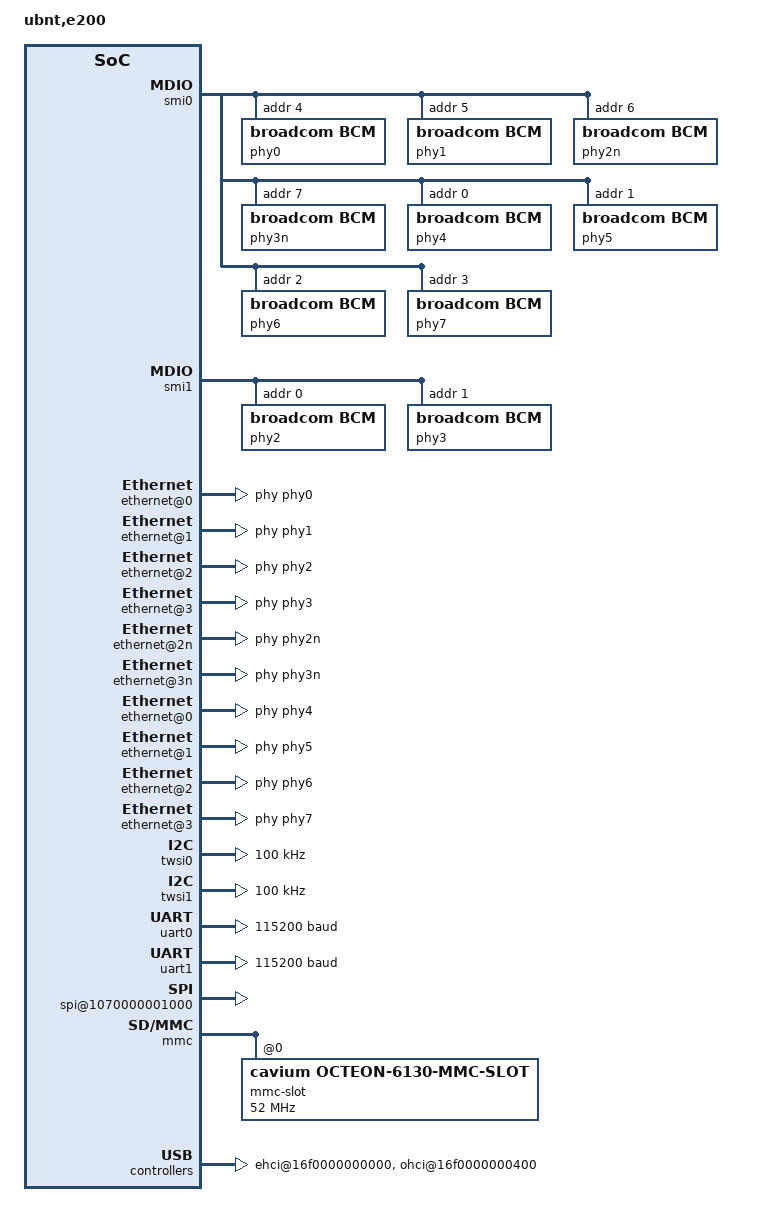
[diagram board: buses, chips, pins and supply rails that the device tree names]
/dts-v1/;
/*
 * UBNT E200
 */
/ {
	model = "ubnt,e200";
	compatible = "ubnt,e200";
	#address-cells = <2>;
	#size-cells = <2>;
	interrupt-parent = <&ciu>;

	soc@0 {
		compatible = "simple-bus";
		#address-cells = <2>;
		#size-cells = <2>;
		ranges; /* Direct mapping */

		ciu: interrupt-controller@1070000000000 {
			compatible = "cavium,octeon-3860-ciu";
			interrupt-controller;
			/* Interrupts are specified by two parts:
			 * 1) Controller register (0 or 1)
			 * 2) Bit within the register (0..63)
			 */
			#interrupt-cells = <2>;
			reg = <0x10700 0x00000000 0x0 0x7000>;
		};

		gpio: gpio-controller@1070000000800 {
			#gpio-cells = <2>;
			compatible = "cavium,octeon-3860-gpio";
			reg = <0x10700 0x00000800 0x0 0x100>;
			gpio-controller;
			/* Interrupts are specified by two parts:
			 * 1) GPIO pin number (0..15)
			 * 2) Triggering (1 - edge rising
			 *		  2 - edge falling
			 *		  4 - level active high
			 *		  8 - level active low)
			 */
			interrupt-controller;
			#interrupt-cells = <2>;
			/* The GPIO pins connect to 16 consecutive CUI bits */
			interrupts = <0 16>; /* <0 17> <0 18> <0 19>
				     <0 20> <0 21> <0 22> <0 23>
				     <0 24> <0 25> <0 26> <0 27>
				     <0 28> <0 29> <0 30> <0 31>; */
		};

		smi0: mdio@1180000001800 {
			compatible = "cavium,octeon-3860-mdio";
			#address-cells = <1>;
			#size-cells = <0>;
			reg = <0x11800 0x00001800 0x0 0x40>;

			phy0: ethernet-phy@4 {
				compatible = "broadcom,bcm", "ethernet-phy-ieee802.3-c22";
				reg = <4>;
				interrupt-parent = <&gpio>;
			};

			phy1: ethernet-phy@5 {
				compatible = "broadcom,bcm", "ethernet-phy-ieee802.3-c22";
				reg = <5>;
				interrupt-parent = <&gpio>;
			};

			phy2n: ethernet-phy@6 {
				cavium,qlm-trim = "0,nosfp";
				compatible = "broadcom,bcm", "ethernet-phy-ieee802.3-c22";
				reg = <6>;
				interrupt-parent = <&gpio>;
			};

			phy3n: ethernet-phy@7 {
				cavium,qlm-trim = "0,nosfp";
				compatible = "broadcom,bcm", "ethernet-phy-ieee802.3-c22";
				reg = <7>;
				interrupt-parent = <&gpio>;
			};

			phy4: ethernet-phy@0 {
				compatible = "broadcom,bcm", "ethernet-phy-ieee802.3-c22";
				reg = <0>;
				interrupt-parent = <&gpio>;
			};

			phy5: ethernet-phy@1 {
				compatible = "broadcom,bcm", "ethernet-phy-ieee802.3-c22";
				reg = <1>;
				interrupt-parent = <&gpio>;
			};

			phy6: ethernet-phy@2 {
				compatible = "broadcom,bcm", "ethernet-phy-ieee802.3-c22";
				reg = <2>;
				interrupt-parent = <&gpio>;
			};

			phy7: ethernet-phy@3 {
				compatible = "broadcom,bcm", "ethernet-phy-ieee802.3-c22";
				reg = <3>;
				interrupt-parent = <&gpio>;
			};
		};

		smi1: mdio@1180000001900 {
			compatible = "cavium,octeon-3860-mdio";
			#address-cells = <1>;
			#size-cells = <0>;
			reg = <0x11800 0x00001900 0x0 0x40>;

			phy2: ethernet-phy@0 {
				cavium,qlm-trim = "0,sfp";
				compatible = "broadcom,bcm", "ethernet-phy-ieee802.3-c22";
				reg = <0>;
				interrupt-parent = <&gpio>;
			};

			phy3: ethernet-phy@1 {
				cavium,qlm-trim = "0,sfp";
				compatible = "broadcom,bcm", "ethernet-phy-ieee802.3-c22";
				reg = <1>;
				interrupt-parent = <&gpio>;
			};

		};

		pip: pip@11800a0000000 {
			compatible = "cavium,octeon-3860-pip";
			#address-cells = <1>;
			#size-cells = <0>;
			reg = <0x11800 0xa0000000 0x0 0x2000>;

			interface@0 {
				compatible = "cavium,octeon-3860-pip-interface";
				#address-cells = <1>;
				#size-cells = <0>;
				reg = <0>; /* interface */

				ethernet@0 {
					compatible = "cavium,octeon-3860-pip-port";
					reg = <0x0>; /* Port */
					local-mac-address = [ 00 00 00 00 00 00 ];
					phy-handle = <&phy0>;
				};
				ethernet@1 {
					compatible = "cavium,octeon-3860-pip-port";
					reg = <0x1>; /* Port */
					local-mac-address = [ 00 00 00 00 00 00 ];
					phy-handle = <&phy1>;
				};
				ethernet@2 {
					cavium,qlm-trim = "0,sfp";
					compatible = "cavium,octeon-3860-pip-port";
					reg = <0x2>; /* Port */
					local-mac-address = [ 00 00 00 00 00 00 ];
					phy-handle = <&phy2>;
				};
				ethernet@3 {
					cavium,qlm-trim = "0,sfp";
					compatible = "cavium,octeon-3860-pip-port";
					reg = <0x3>; /* Port */
					local-mac-address = [ 00 00 00 00 00 00 ];
					phy-handle = <&phy3>;
				};
				ethernet@2n {
					cavium,qlm-trim = "0,nosfp";
					compatible = "cavium,octeon-3860-pip-port";
					reg = <0x2>; /* Port */
					local-mac-address = [ 00 00 00 00 00 00 ];
					phy-handle = <&phy2n>;
				};
				ethernet@3n {
					cavium,qlm-trim = "0,nosfp";
					compatible = "cavium,octeon-3860-pip-port";
					reg = <0x3>; /* Port */
					local-mac-address = [ 00 00 00 00 00 00 ];
					phy-handle = <&phy3n>;
				};
			};

			interface@1 {
				compatible = "cavium,octeon-3860-pip-interface";
				#address-cells = <1>;
				#size-cells = <0>;
				reg = <1>; /* interface */

				ethernet@0 {
					compatible = "cavium,octeon-3860-pip-port";
					reg = <0x0>; /* Port */
					local-mac-address = [ 00 00 00 00 00 00 ];
					phy-handle = <&phy4>;
				};
				ethernet@1 {
					compatible = "cavium,octeon-3860-pip-port";
					reg = <0x1>; /* Port */
					local-mac-address = [ 00 00 00 00 00 00 ];
					phy-handle = <&phy5>;
				};
				ethernet@2 {
					compatible = "cavium,octeon-3860-pip-port";
					reg = <0x2>; /* Port */
					local-mac-address = [ 00 00 00 00 00 00 ];
					phy-handle = <&phy6>;
				};
				ethernet@3 {
					compatible = "cavium,octeon-3860-pip-port";
					reg = <0x3>; /* Port */
					local-mac-address = [ 00 00 00 00 00 00 ];
					phy-handle = <&phy7>;
				};
			};
		};

		twsi0: i2c@1180000001000 {
			#address-cells = <1>;
			#size-cells = <0>;
			compatible = "cavium,octeon-3860-twsi";
			reg = <0x11800 0x00001000 0x0 0x200>;
			interrupts = <0 45>;
			clock-frequency = <100000>;
		};

		twsi1: i2c@1180000001200 {
			#address-cells = <1>;
			#size-cells = <0>;
			compatible = "cavium,octeon-3860-twsi";
			reg = <0x11800 0x00001200 0x0 0x200>;
			interrupts = <0 59>;
			clock-frequency = <100000>;
		};

		uart0: serial@1180000000800 {
			compatible = "cavium,octeon-3860-uart","ns16550";
			reg = <0x11800 0x00000800 0x0 0x400>;
			clock-frequency = <0>;
			current-speed = <115200>;
			reg-shift = <3>;
			interrupts = <0 34>;
		};

		uart1: serial@1180000000c00 {
			compatible = "cavium,octeon-3860-uart","ns16550";
			reg = <0x11800 0x00000c00 0x0 0x400>;
			clock-frequency = <0>;
			current-speed = <115200>;
			reg-shift = <3>;
			interrupts = <0 35>;
		};

		spi@1070000001000 {
			compatible = "cavium,octeon-3010-spi";
			reg = <0x10700 0x00001000 0x0 0x100>;
			interrupts = <0 58>;
			#address-cells = <1>;
			#size-cells = <0>;
		};

		mmc: mmc@1180000002000 {
			compatible = "cavium,octeon-6130-mmc";
			reg = <0x11800 0x00002000 0x0 0x100>,
			      <0x11800 0x00000168 0x0 0x20>;
			#address-cells = <1>;
			#size-cells = <0>;
			/* EMM irq, DMA irq */
			interrupts = <1 19>, <0 63>;

			/* The board only has a single MMC slot */
			mmc-slot@0 {
				compatible = "cavium,octeon-6130-mmc-slot",
					     "mmc-spi-slot";
				reg = <0>;
				voltage-ranges = <3300 3300>;
				spi-max-frequency = <52000000>;
				/* bus width can be 1, 4 or 8 */
				cavium,bus-max-width = <8>;
			};
		};

		bootbus: bootbus@1180000000000 {
			compatible = "cavium,octeon-3860-bootbus";
			reg = <0x11800 0x00000000 0x0 0x200>;
			/* The chip select number and offset */
			#address-cells = <2>;
			/* The size of the chip select region */
			#size-cells = <1>;
			ranges = <0 0  0       0x1f400000  0xc00000>,
				 <1 0  0x10000 0x30000000  0>,
				 <2 0  0       0x1d040000  0x10000>,
				 <3 0  0       0x1d050000  0x10000>,
				 <4 0  0       0x1d020000  0x10000>,
				 <5 0  0x10000 0x40000000  0>,
				 <6 0  0x10000 0x50000000  0>,
				 <7 0  0x10000 0x90000000  0>;

			cavium,cs-config@0 {
				compatible = "cavium,octeon-3860-bootbus-config";
				cavium,cs-index = <0>;
				cavium,t-adr  = <10>;
				cavium,t-ce   = <50>;
				cavium,t-oe   = <50>;
				cavium,t-we   = <35>;
				cavium,t-rd-hld = <25>;
				cavium,t-wr-hld = <35>;
				cavium,t-pause  = <0>;
				cavium,t-wait   = <300>;
				cavium,t-page   = <25>;
				cavium,t-rd-dly = <0>;

				cavium,pages     = <0>;
				cavium,bus-width = <8>;
			};
			cavium,cs-config@4 {
				compatible = "cavium,octeon-3860-bootbus-config";
				cavium,cs-index = <4>;
				cavium,t-adr  = <10>;
				cavium,t-ce   = <10>;
				cavium,t-oe   = <160>;
				cavium,t-we   = <100>;
				cavium,t-rd-hld = <0>;
				cavium,t-wr-hld = <0>;
				cavium,t-pause  = <50>;
				cavium,t-wait   = <300>;
				cavium,t-page   = <300>;
				cavium,t-rd-dly = <10>;

				cavium,pages     = <0>;
				cavium,bus-width = <8>;
			};
			cavium,cs-config@2 {
				compatible = "cavium,octeon-3860-bootbus-config";
				cavium,cs-index = <2>;
				cavium,t-adr  = <0>;
				cavium,t-ce   = <300>;
				cavium,t-oe   = <125>;
				cavium,t-we   = <150>;
				cavium,t-rd-hld = <100>;
				cavium,t-wr-hld = <300>;
				cavium,t-pause  = <0>;
				cavium,t-wait   = <300>;
				cavium,t-page   = <300>;
				cavium,t-rd-dly = <0>;

				cavium,pages     = <0>;
				cavium,bus-width = <16>;
			};
			cavium,cs-config@3 {
				compatible = "cavium,octeon-3860-bootbus-config";
				cavium,cs-index = <3>;
				cavium,t-adr  = <0>;
				cavium,t-ce   = <30>;
				cavium,t-oe   = <125>;
				cavium,t-we   = <150>;
				cavium,t-rd-hld = <100>;
				cavium,t-wr-hld = <30>;
				cavium,t-pause  = <0>;
				cavium,t-wait   = <30>;
				cavium,t-page   = <300>;
				cavium,t-rd-dly = <0>;

				cavium,pages     = <0>;
				cavium,wait-mode;
				cavium,bus-width = <16>;
			};

			flash0: nor@0,0 {
				compatible = "cfi-flash";
				reg = <0 0 0x800000>;
				#address-cells = <1>;
				#size-cells = <1>;
			};
		};

		dma0: dma-engine@1180000000100 {
			compatible = "cavium,octeon-5750-bootbus-dma";
			reg = <0x11800 0x00000100 0x0 0x8>;
			interrupts = <0 63>;
		};
		dma1: dma-engine@1180000000108 {
			compatible = "cavium,octeon-5750-bootbus-dma";
			reg = <0x11800 0x00000108 0x0 0x8>;
			interrupts = <0 63>;
		};

		uctl: uctl@118006f000000 {
			compatible = "cavium,octeon-6335-uctl";
			reg = <0x11800 0x6f000000 0x0 0x100>;
			ranges; /* Direct mapping */
			#address-cells = <2>;
			#size-cells = <2>;
			/* 12MHz, 24MHz and 48MHz allowed */
			refclk-frequency = <12000000>;
			/* Either "crystal" or "external" */
			refclk-type = "crystal";

			ehci@16f0000000000 {
				compatible = "cavium,octeon-6335-ehci","usb-ehci";
				reg = <0x16f00 0x00000000 0x0 0x100>;
				interrupts = <0 56>;
				big-endian-regs;
			};
			ohci@16f0000000400 {
				compatible = "cavium,octeon-6335-ohci","usb-ohci";
				reg = <0x16f00 0x00000400 0x0 0x100>;
				interrupts = <0 56>;
				big-endian-regs;
			};
		};
	};

	aliases {
		pip = &pip;
		smi0 = &smi0;
		smi1 = &smi1;
		twsi0 = &twsi0;
		twsi1 = &twsi1;
		uart0 = &uart0;
		uart1 = &uart1;
		flash0 = &flash0;
	};
 };
